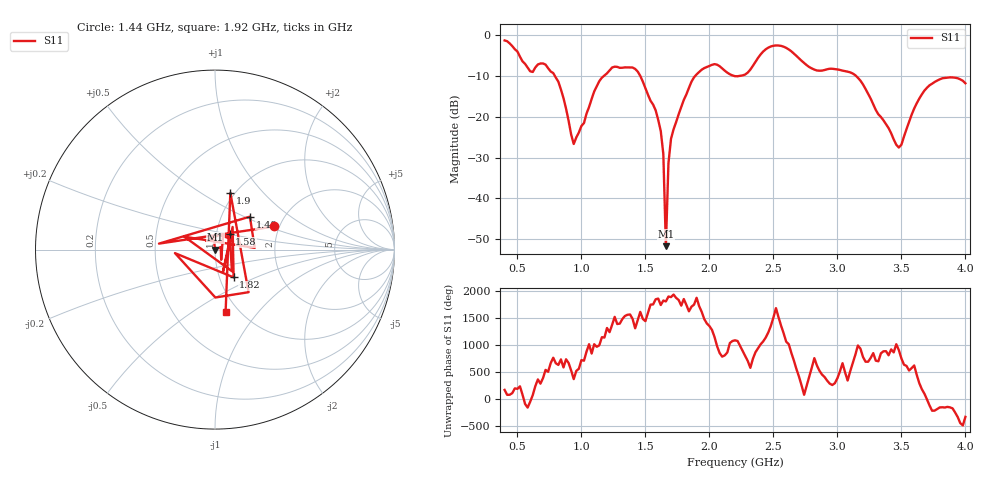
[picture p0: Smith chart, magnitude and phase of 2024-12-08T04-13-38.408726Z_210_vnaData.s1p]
!Created with skrf (http://scikit-rf.org).
# Hz S RI R 50.0
!freq ReS11 ImS11
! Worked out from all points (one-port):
!   181 points, 400 MHz to 4 GHz, reference 50 ohm
!   lowest |S11| = -51.7 dB at 1.66 GHz (marker M1), VSWR 1.01, Z = 50.3 + j0.0343 ohm
!   |S11| at or under -10 dB: 791.5 MHz to 1.178 GHz (386.3 MHz wide, 39.2 % of centre); 1.459 GHz to 1.891 GHz (432.4 MHz wide, 25.8 % of centre); 3.144 GHz to end of sweep (the widest 3 of 4)
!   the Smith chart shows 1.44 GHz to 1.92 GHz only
!   S11 on the Smith chart (normalised r, x): 1.44 GHz: 1.88, +0.55; 1.48 GHz: 1.36, +0.54; 1.58 GHz: 1.16, +0.20; 1.82 GHz: 1.17, -0.37; 1.9 GHz: 0.95, +0.68; 1.92 GHz: 0.87, -0.69
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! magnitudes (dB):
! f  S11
! 400 MHz  -1.4
! 600 MHz  -8.9
! 720 MHz  -7.3
! 860 MHz  -15.5
! 940 MHz  -26.7
! 1.14 GHz  -11.3
! 1.3 GHz  -8.1
! 1.44 GHz  -9.0
! 1.48 GHz  -11.5
! 1.58 GHz  -18.5
! 1.64 GHz  -29.1
! 1.66 GHz  -51.7
! 1.68 GHz  -31.4
! 1.7 GHz  -25.4
! 1.76 GHz  -19.4
! 1.82 GHz  -14.6
! 1.9 GHz  -9.7
! 1.92 GHz  -9.1
! 2.04 GHz  -7.2
! 2.2 GHz  -10.1
! 2.48 GHz  -2.9
! 2.66 GHz  -4.6
! 2.84 GHz  -8.7
! 3.1 GHz  -9.2
! 3.48 GHz  -27.6
! 3.56 GHz  -21.3
! 3.72 GHz  -12.4
! 4 GHz  -11.9
